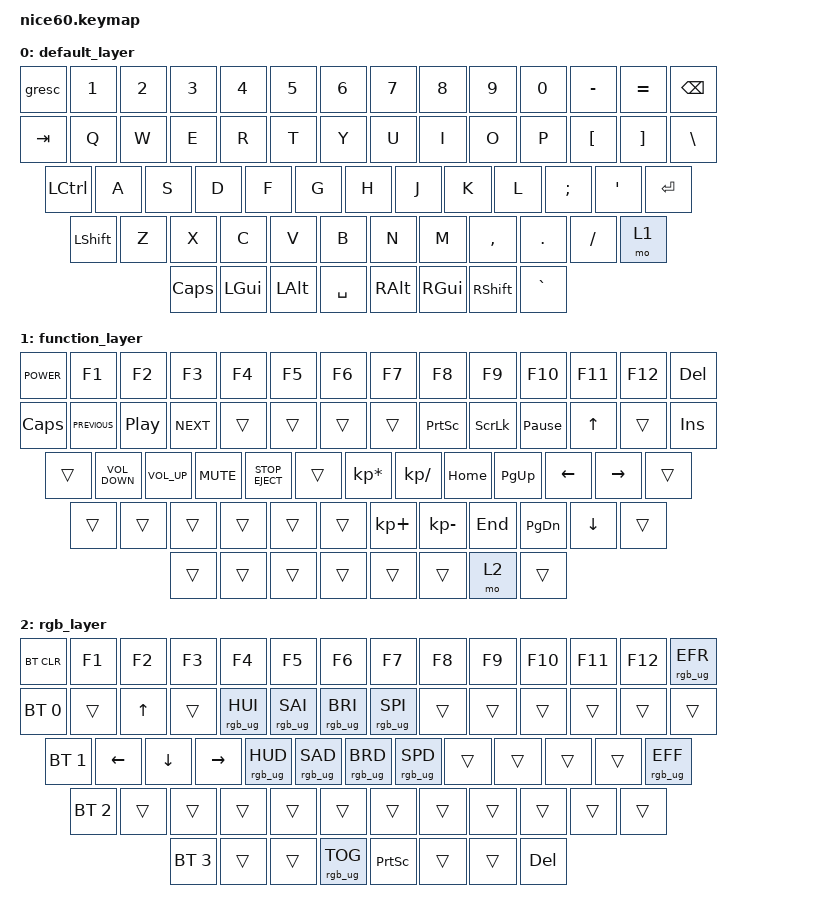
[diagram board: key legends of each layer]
/*
 * Copyright (c) 2021 Nick Winans
 *
 * SPDX-License-Identifier: MIT
 */

#include <behaviors.dtsi>
#include <dt-bindings/zmk/keys.h>
#include <dt-bindings/zmk/rgb.h>
#include <dt-bindings/zmk/bt.h>
#include <dt-bindings/zmk/outputs.h>
#include <dt-bindings/zmk/reset.h>
#include <dt-bindings/zmk/ext_power.h>

/ {
	keymap {
		compatible = "zmk,keymap";
		
		default_layer {
			bindings = <
	&gresc  &kp N1 &kp N2 &kp N3 &kp N4 &kp N5 &kp N6 &kp N7 &kp N8 &kp N9 &kp N0 &kp MINUS &kp EQUAL  &kp BSPC
	&kp TAB  &kp Q  &kp W  &kp E  &kp R  &kp T  &kp Y  &kp U  &kp I  &kp O  &kp P  &kp LBKT  &kp RBKT  &kp BSLH
	&kp LCTRL  &kp A  &kp S  &kp D  &kp F  &kp G  &kp H  &kp J  &kp K  &kp L  &kp SEMI &kp SQT           &kp RET
	&kp LSHFT   &kp Z  &kp X  &kp C  &kp V  &kp B  &kp N  &kp M  &kp COMMA &kp DOT &kp FSLH               &mo 1
	&kp CLCK  &kp LGUI &kp LALT             &kp SPACE                     &kp RALT  &kp RGUI  &kp RSHFT  &kp GRAVE    
			>;
		};

		function_layer {
			bindings = <
	&kp C_POWER   &kp F1    &kp F2    &kp F3  &kp F4           &kp F5          &kp F6          &kp F7          &kp F8   &kp F9   &kp F10  &kp F11 &kp F12  &kp DEL
	&kp CAPSLOCK   &kp C_PREVIOUS    &kp C_PLAY_PAUSE    &kp C_NEXT  &trans  &trans &trans &trans  &kp PSCRN   &kp SCROLLLOCK   &kp PAUSE_BREAK   &kp UP  &trans          &kp INS 
	&trans   &kp C_VOLUME_DOWN  &kp C_VOLUME_UP  &kp C_MUTE &kp C_STOP_EJECT &trans &kp KP_MULTIPLY &kp KP_DIVIDE &kp HOME   &kp PAGE_UP   &kp LEFT   &kp RIGHT        &trans
	&trans    &trans    &trans    &trans   &trans          &trans          &kp KP_PLUS          &kp KP_MINUS          &kp END   &kp PAGE_DOWN   &kp DOWN                          &trans
	&trans  &trans   &trans                            &trans                                      &trans      &trans      &mo 2               &trans
			>;
		};

		rgb_layer {
			bindings = <
	&bt BT_CLR   &kp F1    &kp F2    &kp F3  &kp F4           &kp F5          &kp F6          &kp F7          &kp F8   &kp F9   &kp F10  &kp F11 &kp F12  &rgb_ug RGB_EFR
	&bt BT_SEL 0  &trans    &kp UP    &trans  &rgb_ug RGB_HUI  &rgb_ug RGB_SAI &rgb_ug RGB_BRI &rgb_ug RGB_SPI  &trans   &trans   &trans   &trans  &trans          &trans 
	&bt BT_SEL 1   &kp LEFT  &kp DOWN  &kp RIGHT &rgb_ug RGB_HUD &rgb_ug RGB_SAD &rgb_ug RGB_BRD &rgb_ug RGB_SPD &trans   &trans   &trans   &trans        &rgb_ug RGB_EFF
	&bt BT_SEL 2    &trans    &trans    &trans   &trans          &trans          &trans          &trans          &trans   &trans   &trans                          &trans
	&bt BT_SEL 3  &trans   &trans                            &rgb_ug RGB_TOG                                      &kp PSCRN      &trans      &trans               &kp DEL
			>;
		};
	};
};
